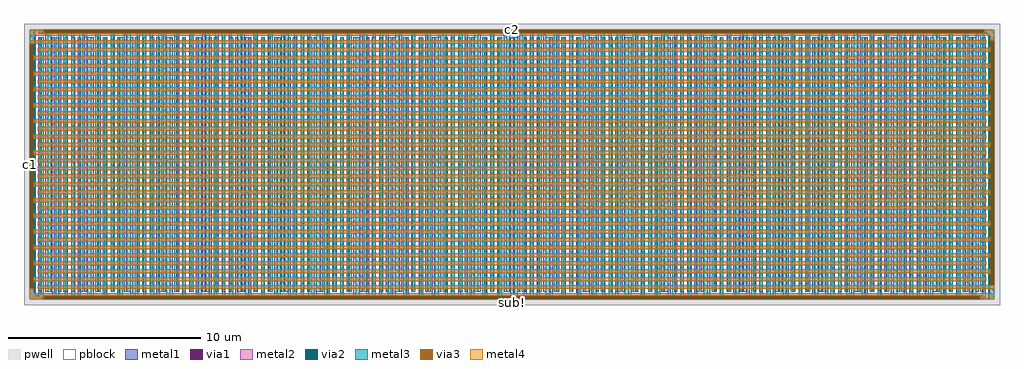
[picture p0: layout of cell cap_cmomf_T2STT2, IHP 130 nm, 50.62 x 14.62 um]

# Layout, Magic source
magic
tech ihp-sg13cmos5l
magscale 1 2
<< pwell >>
rect -62 2800 10062 2862
rect -62 0 0 2800
rect 10000 0 10062 2800
rect -62 -62 10062 0
<< pblock >>
rect 0 0 10000 2800
<< metal1 >>
rect 0 2651 52 2800
rect 88 2799 10000 2800
rect 88 2759 134 2799
rect 9906 2759 10000 2799
rect 88 2758 10000 2759
rect 0 109 1 2651
rect 41 109 52 2651
rect 0 42 52 109
rect 88 42 120 2722
rect 156 78 188 2758
rect 224 42 256 2722
rect 292 78 324 2758
rect 360 42 392 2722
rect 428 78 460 2758
rect 496 42 528 2722
rect 564 78 596 2758
rect 632 42 664 2722
rect 700 78 732 2758
rect 768 42 800 2722
rect 836 78 868 2758
rect 904 42 936 2722
rect 972 78 1004 2758
rect 1040 42 1072 2722
rect 1108 78 1140 2758
rect 1176 42 1208 2722
rect 1244 78 1276 2758
rect 1312 42 1344 2722
rect 1380 78 1412 2758
rect 1448 42 1480 2722
rect 1516 78 1548 2758
rect 1584 42 1616 2722
rect 1652 78 1684 2758
rect 1720 42 1752 2722
rect 1788 78 1820 2758
rect 1856 42 1888 2722
rect 1924 78 1956 2758
rect 1992 42 2024 2722
rect 2060 78 2092 2758
rect 2128 42 2160 2722
rect 2196 78 2228 2758
rect 2264 42 2296 2722
rect 2332 78 2364 2758
rect 2400 42 2432 2722
rect 2468 78 2500 2758
rect 2536 42 2568 2722
rect 2604 78 2636 2758
rect 2672 42 2704 2722
rect 2740 78 2772 2758
rect 2808 42 2840 2722
rect 2876 78 2908 2758
rect 2944 42 2976 2722
rect 3012 78 3044 2758
rect 3080 42 3112 2722
rect 3148 78 3180 2758
rect 3216 42 3248 2722
rect 3284 78 3316 2758
rect 3352 42 3384 2722
rect 3420 78 3452 2758
rect 3488 42 3520 2722
rect 3556 78 3588 2758
rect 3624 42 3656 2722
rect 3692 78 3724 2758
rect 3760 42 3792 2722
rect 3828 78 3860 2758
rect 3896 42 3928 2722
rect 3964 78 3996 2758
rect 4032 42 4064 2722
rect 4100 78 4132 2758
rect 4168 42 4200 2722
rect 4236 78 4268 2758
rect 4304 42 4336 2722
rect 4372 78 4404 2758
rect 4440 42 4472 2722
rect 4508 78 4540 2758
rect 4576 42 4608 2722
rect 4644 78 4676 2758
rect 4712 42 4744 2722
rect 4780 78 4812 2758
rect 4848 42 4880 2722
rect 4916 78 4948 2758
rect 4984 42 5016 2722
rect 5052 78 5084 2758
rect 5120 42 5152 2722
rect 5188 78 5220 2758
rect 5256 42 5288 2722
rect 5324 78 5356 2758
rect 5392 42 5424 2722
rect 5460 78 5492 2758
rect 5528 42 5560 2722
rect 5596 78 5628 2758
rect 5664 42 5696 2722
rect 5732 78 5764 2758
rect 5800 42 5832 2722
rect 5868 78 5900 2758
rect 5936 42 5968 2722
rect 6004 78 6036 2758
rect 6072 42 6104 2722
rect 6140 78 6172 2758
rect 6208 42 6240 2722
rect 6276 78 6308 2758
rect 6344 42 6376 2722
rect 6412 78 6444 2758
rect 6480 42 6512 2722
rect 6548 78 6580 2758
rect 6616 42 6648 2722
rect 6684 78 6716 2758
rect 6752 42 6784 2722
rect 6820 78 6852 2758
rect 6888 42 6920 2722
rect 6956 78 6988 2758
rect 7024 42 7056 2722
rect 7092 78 7124 2758
rect 7160 42 7192 2722
rect 7228 78 7260 2758
rect 7296 42 7328 2722
rect 7364 78 7396 2758
rect 7432 42 7464 2722
rect 7500 78 7532 2758
rect 7568 42 7600 2722
rect 7636 78 7668 2758
rect 7704 42 7736 2722
rect 7772 78 7804 2758
rect 7840 42 7872 2722
rect 7908 78 7940 2758
rect 7976 42 8008 2722
rect 8044 78 8076 2758
rect 8112 42 8144 2722
rect 8180 78 8212 2758
rect 8248 42 8280 2722
rect 8316 78 8348 2758
rect 8384 42 8416 2722
rect 8452 78 8484 2758
rect 8520 42 8552 2722
rect 8588 78 8620 2758
rect 8656 42 8688 2722
rect 8724 78 8756 2758
rect 8792 42 8824 2722
rect 8860 78 8892 2758
rect 8928 42 8960 2722
rect 8996 78 9028 2758
rect 9064 42 9096 2722
rect 9132 78 9164 2758
rect 9200 42 9232 2722
rect 9268 78 9300 2758
rect 9336 42 9368 2722
rect 9404 78 9436 2758
rect 9472 42 9504 2722
rect 9540 78 9572 2758
rect 9608 42 9640 2722
rect 9676 78 9708 2758
rect 9744 42 9776 2722
rect 9812 78 9844 2758
rect 9880 42 9912 2722
rect 0 41 9912 42
rect 0 1 134 41
rect 9866 1 9912 41
rect 0 0 9912 1
rect 9948 2691 10000 2758
rect 9948 149 9959 2691
rect 9999 149 10000 2691
rect 9948 0 10000 149
<< via1 >>
rect 134 2759 9906 2799
rect 1 109 41 2651
rect 134 1 9866 41
rect 9959 149 9999 2691
<< metal2 >>
rect 0 2799 141 2800
rect 9899 2799 10000 2800
rect 0 2759 134 2799
rect 9906 2759 10000 2799
rect 0 2733 10000 2759
rect 9959 2691 10000 2733
rect 0 2651 9916 2691
rect 84 2569 9959 2609
rect 41 2487 9916 2527
rect 84 2405 9959 2445
rect 41 2323 9916 2363
rect 84 2241 9959 2281
rect 41 2159 9916 2199
rect 84 2077 9959 2117
rect 41 1995 9916 2035
rect 84 1913 9959 1953
rect 41 1831 9916 1871
rect 84 1749 9959 1789
rect 41 1667 9916 1707
rect 84 1585 9959 1625
rect 41 1503 9916 1543
rect 84 1421 9959 1461
rect 41 1339 9916 1379
rect 84 1257 9959 1297
rect 41 1175 9916 1215
rect 84 1093 9959 1133
rect 41 1011 9916 1051
rect 84 929 9959 969
rect 41 847 9916 887
rect 84 765 9959 805
rect 41 683 9916 723
rect 84 601 9959 641
rect 41 519 9916 559
rect 84 437 9959 477
rect 41 355 9916 395
rect 84 273 9959 313
rect 41 191 9916 231
rect 84 109 10000 149
rect 0 67 41 109
rect 0 41 10000 67
rect 0 1 134 41
rect 9866 1 10000 41
rect 0 0 141 1
rect 9859 0 10000 1
<< via2 >>
rect 141 2799 9899 2800
rect 141 2760 9899 2799
rect 0 109 1 2651
rect 1 109 40 2651
rect 9960 149 9999 2691
rect 9999 149 10000 2691
rect 141 1 9859 40
rect 141 0 9859 1
<< metal3 >>
rect 0 2651 59 2800
rect 101 2760 141 2800
rect 9899 2760 10000 2800
rect 40 109 59 2651
rect 0 40 59 109
rect 101 40 141 2718
rect 183 82 223 2760
rect 265 40 305 2718
rect 347 82 387 2760
rect 429 40 469 2718
rect 511 82 551 2760
rect 593 40 633 2718
rect 675 82 715 2760
rect 757 40 797 2718
rect 839 82 879 2760
rect 921 40 961 2718
rect 1003 82 1043 2760
rect 1085 40 1125 2718
rect 1167 82 1207 2760
rect 1249 40 1289 2718
rect 1331 82 1371 2760
rect 1413 40 1453 2718
rect 1495 82 1535 2760
rect 1577 40 1617 2718
rect 1659 82 1699 2760
rect 1741 40 1781 2718
rect 1823 82 1863 2760
rect 1905 40 1945 2718
rect 1987 82 2027 2760
rect 2069 40 2109 2718
rect 2151 82 2191 2760
rect 2233 40 2273 2718
rect 2315 82 2355 2760
rect 2397 40 2437 2718
rect 2479 82 2519 2760
rect 2561 40 2601 2718
rect 2643 82 2683 2760
rect 2725 40 2765 2718
rect 2807 82 2847 2760
rect 2889 40 2929 2718
rect 2971 82 3011 2760
rect 3053 40 3093 2718
rect 3135 82 3175 2760
rect 3217 40 3257 2718
rect 3299 82 3339 2760
rect 3381 40 3421 2718
rect 3463 82 3503 2760
rect 3545 40 3585 2718
rect 3627 82 3667 2760
rect 3709 40 3749 2718
rect 3791 82 3831 2760
rect 3873 40 3913 2718
rect 3955 82 3995 2760
rect 4037 40 4077 2718
rect 4119 82 4159 2760
rect 4201 40 4241 2718
rect 4283 82 4323 2760
rect 4365 40 4405 2718
rect 4447 82 4487 2760
rect 4529 40 4569 2718
rect 4611 82 4651 2760
rect 4693 40 4733 2718
rect 4775 82 4815 2760
rect 4857 40 4897 2718
rect 4939 82 4979 2760
rect 5021 40 5061 2718
rect 5103 82 5143 2760
rect 5185 40 5225 2718
rect 5267 82 5307 2760
rect 5349 40 5389 2718
rect 5431 82 5471 2760
rect 5513 40 5553 2718
rect 5595 82 5635 2760
rect 5677 40 5717 2718
rect 5759 82 5799 2760
rect 5841 40 5881 2718
rect 5923 82 5963 2760
rect 6005 40 6045 2718
rect 6087 82 6127 2760
rect 6169 40 6209 2718
rect 6251 82 6291 2760
rect 6333 40 6373 2718
rect 6415 82 6455 2760
rect 6497 40 6537 2718
rect 6579 82 6619 2760
rect 6661 40 6701 2718
rect 6743 82 6783 2760
rect 6825 40 6865 2718
rect 6907 82 6947 2760
rect 6989 40 7029 2718
rect 7071 82 7111 2760
rect 7153 40 7193 2718
rect 7235 82 7275 2760
rect 7317 40 7357 2718
rect 7399 82 7439 2760
rect 7481 40 7521 2718
rect 7563 82 7603 2760
rect 7645 40 7685 2718
rect 7727 82 7767 2760
rect 7809 40 7849 2718
rect 7891 82 7931 2760
rect 7973 40 8013 2718
rect 8055 82 8095 2760
rect 8137 40 8177 2718
rect 8219 82 8259 2760
rect 8301 40 8341 2718
rect 8383 82 8423 2760
rect 8465 40 8505 2718
rect 8547 82 8587 2760
rect 8629 40 8669 2718
rect 8711 82 8751 2760
rect 8793 40 8833 2718
rect 8875 82 8915 2760
rect 8957 40 8997 2718
rect 9039 82 9079 2760
rect 9121 40 9161 2718
rect 9203 82 9243 2760
rect 9285 40 9325 2718
rect 9367 82 9407 2760
rect 9449 40 9489 2718
rect 9531 82 9571 2760
rect 9613 40 9653 2718
rect 9695 82 9735 2760
rect 9777 40 9817 2718
rect 9859 82 9899 2760
rect 9941 2691 10000 2760
rect 9941 149 9960 2691
rect 0 0 141 40
rect 9859 0 9899 40
rect 9941 0 10000 149
<< via3 >>
rect 141 2760 9899 2800
rect 0 109 40 2651
rect 9960 149 10000 2691
rect 141 0 9859 40
<< metal4 >>
rect 0 2760 141 2800
rect 9899 2760 10000 2800
rect 0 2733 10000 2760
rect 9960 2691 10000 2733
rect 0 2651 9918 2691
rect 82 2569 9960 2609
rect 40 2487 9918 2527
rect 82 2405 9960 2445
rect 40 2323 9918 2363
rect 82 2241 9960 2281
rect 40 2159 9918 2199
rect 82 2077 9960 2117
rect 40 1995 9918 2035
rect 82 1913 9960 1953
rect 40 1831 9918 1871
rect 82 1749 9960 1789
rect 40 1667 9918 1707
rect 82 1585 9960 1625
rect 40 1503 9918 1543
rect 82 1421 9960 1461
rect 40 1339 9918 1379
rect 82 1257 9960 1297
rect 40 1175 9918 1215
rect 82 1093 9960 1133
rect 40 1011 9918 1051
rect 82 929 9960 969
rect 40 847 9918 887
rect 82 765 9960 805
rect 40 683 9918 723
rect 82 601 9960 641
rect 40 519 9918 559
rect 82 437 9960 477
rect 40 355 9918 395
rect 82 273 9960 313
rect 40 191 9918 231
rect 82 109 10000 149
rect 0 67 40 109
rect 0 40 10000 67
rect 0 0 141 40
rect 9859 0 10000 40
<< labels >>
rlabel pwell 5000 -31 5000 -31 0 sub!
port 1 nsew
rlabel via3 2 1400 2 1400 0 c1
port 2 nsew
rlabel via3 5000 2798 5000 2798 0 c2
port 3 nsew
<< properties >>
string device csubckt cap_cmomf 0 0 1 1 w=50u l=14u mmin=1 mmax=4 subblock=1 mm_ok=1 c1 0 0 c2 0 0
string FIXED_BBOX -62 -62 10062 2862
string gencell cap_cmomf
string library sg13cmos5l
string parameters w 50.00 l 14.00 value 900.900 class capacitor mmin metal1 mmax metal4 square 1 subblock 1 lmin 2.00 wmin 2.00 lmax 100.0 wmax 100.0
<< end >>
